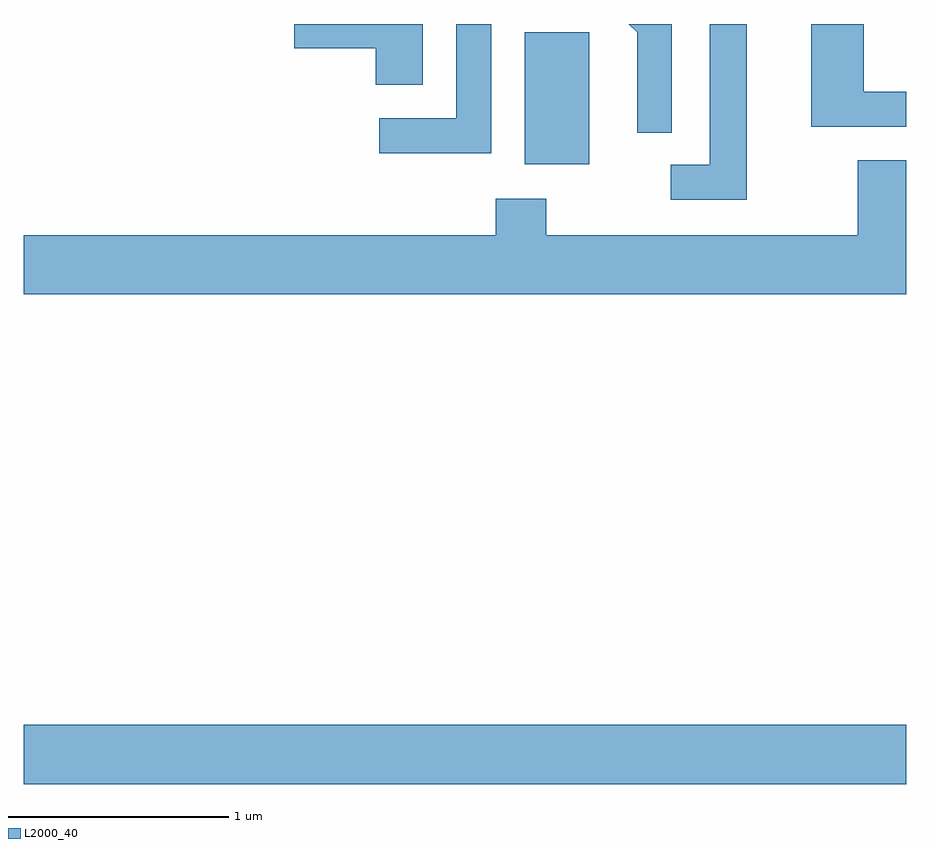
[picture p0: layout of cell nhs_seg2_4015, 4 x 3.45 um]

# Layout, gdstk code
import gdstk
lib = gdstk.Library(unit=1e-6, precision=1e-09)
def R(c, l, rs):  # rectangles x0, y0, x1, y1
    for r in rs: c.add(gdstk.rectangle(r[:2], r[2:], *l))
def P(c, l, *ps):  # polygons
    for p in ps: c.add(gdstk.Polygon(p, *l))
L2000_40 = (2000, 40)

nhs_seg2_4015 = lib.new_cell('nhs_seg2_4015')
R(nhs_seg2_4015, L2000_40, [(303.611,1008.356,307.611,1008.624), (305.881,1011.166,306.174,1011.764)])
P(nhs_seg2_4015, L2000_40, [(307.611,1011.494),(307.419,1011.494),(307.419,1011.802),(307.181,1011.802),(307.181,1011.336),(307.611,1011.336)],
  [(305.729,1011.802),(305.571,1011.802),(305.571,1011.374),(305.223,1011.374),(305.223,1011.216),(305.729,1011.216)],
  [(306.549,1011.802),(306.353,1011.802),(306.391,1011.764),(306.391,1011.308),(306.549,1011.308)],
  [(305.419,1011.802),(304.836,1011.802),(304.836,1011.691),(305.206,1011.691),(305.206,1011.526),(305.419,1011.526)],
  [(306.889,1011.802),(306.721,1011.802),(306.721,1011.164),(306.543,1011.164),(306.543,1011.006),(306.889,1011.006)],
  [(307.611,1011.184),(307.391,1011.184),(307.391,1010.844),(305.979,1010.844),(305.979,1011.009),(305.751,1011.009),(305.751,1010.844),(303.611,1010.844),(303.611,1010.576),(307.611,1010.576)])

lib.write_gds('nhs_seg2_4015.gds')
